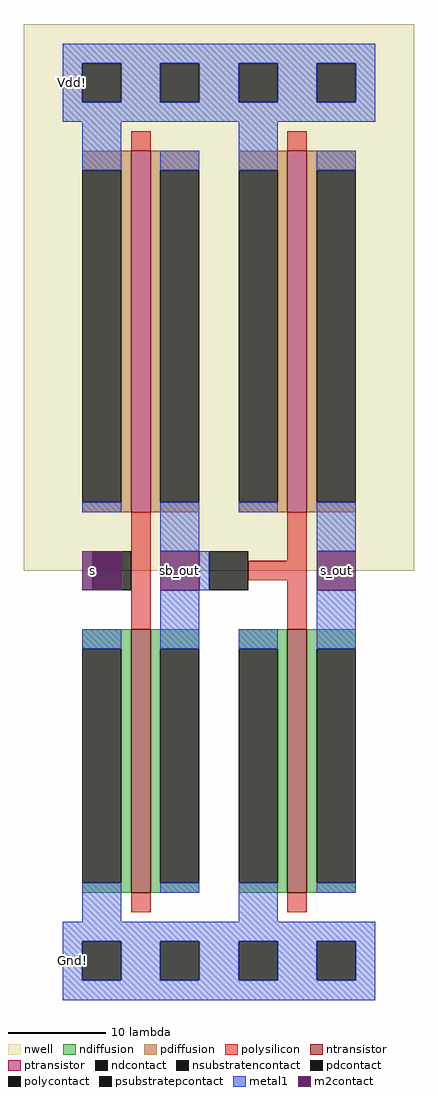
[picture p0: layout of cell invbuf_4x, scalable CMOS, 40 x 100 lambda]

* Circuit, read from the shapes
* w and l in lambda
.subckt invbuf_4x Gnd! Vdd! s s_out sb_out
M1 sb_out s Gnd! Gnd! nfet w=27 l=2
M2 s_out sb_out Gnd! Gnd! nfet w=27 l=2
M3 sb_out s Vdd! Vdd! pfet w=37 l=2
M4 s_out sb_out Vdd! Vdd! pfet w=37 l=2
.ends

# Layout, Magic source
magic
tech scmos
<< nwell >>
rect -6 40 34 96
<< ntransistor >>
rect 5 7 7 34
rect 21 7 23 34
<< ptransistor >>
rect 5 46 7 83
rect 21 46 23 83
<< ndiffusion >>
rect 0 32 5 34
rect 4 8 5 32
rect 0 7 5 8
rect 7 32 12 34
rect 7 8 8 32
rect 7 7 12 8
rect 16 32 21 34
rect 20 8 21 32
rect 16 7 21 8
rect 23 32 28 34
rect 23 8 24 32
rect 23 7 28 8
<< pdiffusion >>
rect 0 81 5 83
rect 4 47 5 81
rect 0 46 5 47
rect 7 81 12 83
rect 7 47 8 81
rect 7 46 12 47
rect 16 81 21 83
rect 20 47 21 81
rect 16 46 21 47
rect 23 81 28 83
rect 23 47 24 81
rect 23 46 28 47
<< ndcontact >>
rect 0 8 4 32
rect 8 8 12 32
rect 16 8 20 32
rect 24 8 28 32
<< pdcontact >>
rect 0 47 4 81
rect 8 47 12 81
rect 16 47 20 81
rect 24 47 28 81
<< psubstratepcontact >>
rect 0 -2 4 2
rect 8 -2 12 2
rect 16 -2 20 2
rect 24 -2 28 2
<< nsubstratencontact >>
rect 0 88 4 92
rect 8 88 12 92
rect 16 88 20 92
rect 24 88 28 92
<< polysilicon >>
rect 5 83 7 85
rect 21 83 23 85
rect 5 34 7 46
rect 21 41 23 46
rect 17 39 23 41
rect 21 34 23 39
rect 5 5 7 7
rect 21 5 23 7
<< polycontact >>
rect 1 38 5 42
rect 13 38 17 42
<< metal1 >>
rect -2 92 30 94
rect -2 88 0 92
rect 4 88 8 92
rect 12 88 16 92
rect 20 88 24 92
rect 28 88 30 92
rect -2 86 30 88
rect 0 81 4 86
rect 0 46 4 47
rect 8 81 12 83
rect 8 42 12 47
rect 16 81 20 86
rect 16 46 20 47
rect 24 81 28 83
rect 24 42 28 47
rect 12 38 13 42
rect 0 32 4 34
rect 0 4 4 8
rect 8 32 12 38
rect 8 7 12 8
rect 16 32 20 34
rect 16 4 20 8
rect 24 32 28 38
rect 24 7 28 8
rect -2 2 30 4
rect -2 -2 0 2
rect 4 -2 8 2
rect 12 -2 16 2
rect 20 -2 24 2
rect 28 -2 30 2
rect -2 -4 30 -2
<< m2contact >>
rect 0 38 1 42
rect 1 38 4 42
rect 8 38 12 42
rect 24 38 28 42
<< labels >>
rlabel m2contact 1 40 1 40 1 s
rlabel m2contact 10 40 10 40 1 sb_out
rlabel m2contact 26 40 26 40 1 s_out
rlabel metal1 -1 0 -1 0 3 Gnd!
rlabel metal1 -1 90 -1 90 3 Vdd!
<< end >>
